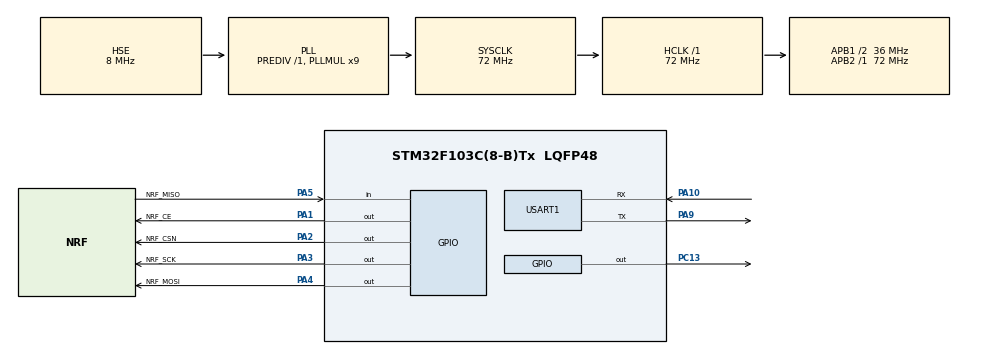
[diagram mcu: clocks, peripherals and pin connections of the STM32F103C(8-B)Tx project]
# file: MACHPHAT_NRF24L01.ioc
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Mcu.Family=STM32F1
Mcu.Name=STM32F103C(8-B)Tx
Mcu.Package=LQFP48
NVIC.PriorityGroup=NVIC_PRIORITYGROUP_4
NVIC.USART1_IRQn=true\:0\:0\:false\:false\:true
PA1.GPIO_Label=NRF_CE
PA1.GPIO_Speed=GPIO_SPEED_FREQ_HIGH
PA1.Signal=GPIO_Output
PA10.Mode=Asynchronous
PA10.Signal=USART1_RX
PA13.Mode=Serial_Wire
PA13.Signal=SYS_JTMS-SWDIO
PA14.Mode=Serial_Wire
PA14.Signal=SYS_JTCK-SWCLK
PA2.GPIO_Label=NRF_CSN
PA2.GPIO_Speed=GPIO_SPEED_FREQ_HIGH
PA2.Signal=GPIO_Output
PA3.GPIO_Label=NRF_SCK
PA3.GPIO_Speed=GPIO_SPEED_FREQ_HIGH
PA3.Signal=GPIO_Output
PA4.GPIO_Label=NRF_MOSI
PA4.GPIO_Speed=GPIO_SPEED_FREQ_HIGH
PA4.Signal=GPIO_Output
PA5.GPIO_Label=NRF_MISO
PA5.Signal=GPIO_Input
PA9.Mode=Asynchronous
PA9.Signal=USART1_TX
PC13-TAMPER-RTC.Signal=GPIO_Output
PD0-OSC_IN.Mode=HSE-External-Oscillator
PD0-OSC_IN.Signal=RCC_OSC_IN
PD1-OSC_OUT.Mode=HSE-External-Oscillator
PD1-OSC_OUT.Signal=RCC_OSC_OUT
ProjectManager.HeapSize=0x200
ProjectManager.StackSize=0x400
ProjectManager.TargetToolchain=MDK-ARM V5
RCC.AHBFreq_Value=72000000
RCC.APB1CLKDivider=RCC_HCLK_DIV2
RCC.APB1Freq_Value=36000000
RCC.APB1TimFreq_Value=72000000
RCC.APB2Freq_Value=72000000
RCC.APB2TimFreq_Value=72000000
RCC.HCLKFreq_Value=72000000
RCC.PLLMUL=RCC_PLL_MUL9
RCC.PLLSourceVirtual=RCC_PLLSOURCE_HSE
RCC.SYSCLKFreq_VALUE=72000000
RCC.SYSCLKSource=RCC_SYSCLKSOURCE_PLLCLK
RCC.USBFreq_Value=72000000
USART1.VirtualMode=VM_ASYNC
board=MACHPHAT_NRF24L01

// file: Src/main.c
/**
  ******************************************************************************
  * File Name          : main.c
  * Description        : Main program body
  ******************************************************************************
  ** This notice applies to any and all portions of this file
  * that are not between comment pairs USER CODE BEGIN and
  * USER CODE END. Other portions of this file, whether
  * inserted by the user or by software development tools
  * are owned by their respective copyright owners.
  *
  * COPYRIGHT(c) 2017 STMicroelectronics
  *
  * Redistribution and use in source and binary forms, with or without modification,
  * are permitted provided that the following conditions are met:
  *   1. Redistributions of source code must retain the above copyright notice,
  *      this list of conditions and the following disclaimer.
  *   2. Redistributions in binary form must reproduce the above copyright notice,
  *      this list of conditions and the following disclaimer in the documentation
  *      and/or other materials provided with the distribution.
  *   3. Neither the name of STMicroelectronics nor the names of its contributors
  *      may be used to endorse or promote products derived from this software
  *      without specific prior written permission.
  *
  * THIS SOFTWARE IS PROVIDED BY THE COPYRIGHT HOLDERS AND CONTRIBUTORS "AS IS"
  * AND ANY EXPRESS OR IMPLIED WARRANTIES, INCLUDING, BUT NOT LIMITED TO, THE
  * IMPLIED WARRANTIES OF MERCHANTABILITY AND FITNESS FOR A PARTICULAR PURPOSE ARE
  * DISCLAIMED. IN NO EVENT SHALL THE COPYRIGHT HOLDER OR CONTRIBUTORS BE LIABLE
  * FOR ANY DIRECT, INDIRECT, INCIDENTAL, SPECIAL, EXEMPLARY, OR CONSEQUENTIAL
  * DAMAGES (INCLUDING, BUT NOT LIMITED TO, PROCUREMENT OF SUBSTITUTE GOODS OR
  * SERVICES; LOSS OF USE, DATA, OR PROFITS; OR BUSINESS INTERRUPTION) HOWEVER
  * CAUSED AND ON ANY THEORY OF LIABILITY, WHETHER IN CONTRACT, STRICT LIABILITY,
  * OR TORT (INCLUDING NEGLIGENCE OR OTHERWISE) ARISING IN ANY WAY OUT OF THE USE
  * OF THIS SOFTWARE, EVEN IF ADVISED OF THE POSSIBILITY OF SUCH DAMAGE.
  *
  ******************************************************************************
  */
#include "main.h"
#include "stm32f1xx_hal.h"

/* USER CODE BEGIN Includes */
//Hung
#include "CTR_nrf24l01.h"

/* USER CODE END Includes */

UART_HandleTypeDef huart1;

/* USER CODE BEGIN PV */
/* Private variables ---------------------------------------------------------*/

/* USER CODE END PV */

void SystemClock_Config(void);
static void MX_GPIO_Init(void);
static void MX_USART1_UART_Init(void);

/* USER CODE BEGIN PFP */
/* Private function prototypes -----------------------------------------------*/
//Hung
#ifdef __GNUC__
  /* With GCC/RAISONANCE, small printf (option LD Linker->Libraries->Small printf
     set to 'Yes') calls __io_putchar() */
  #define PUTCHAR_PROTOTYPE int __io_putchar(int ch)
#else
  #define PUTCHAR_PROTOTYPE int fputc(int ch, FILE *f)
  #define GETCHAR_PROTOTYPE int fgetc(FILE *f)
#endif /* __GNUC__ */
	PUTCHAR_PROTOTYPE
{
  /* Place your implementation of fputc here */
  /* e.g. write a character to the USART */
	HAL_UART_Transmit(&huart1, (uint8_t*)&ch,1,100);

  /* Loop until the end of transmission */

  return ch;
}

/* USER CODE END PFP */

/* USER CODE BEGIN 0 */

//Hung added
	uint8_t CTR_SENDBUFF[32];

//End Hung added

/* USER CODE END 0 */

int main(void)
{

  /* MCU Configuration----------------------------------------------------------*/

  /* Reset of all peripherals, Initializes the Flash interface and the Systick. */
  HAL_Init();

  /* Configure the system clock */
  SystemClock_Config();

  /* Initialize all configured peripherals */
  MX_GPIO_Init();
  MX_USART1_UART_Init();

  /* USER CODE BEGIN 2 */

	//Hung
	CTR_nrfInit(); //khoi tao
	CTR_nrfSetTX(); //chon chuc nang gui du lieu
	// Them doan ma can gui vao buffer gui
	sprintf(CTR_SENDBUFF, "Hello Hung-gui qua NRF24L01");

	printf("Hello day la mach phat dung NRF24L01\r \n");

  /* USER CODE END 2 */

  /* Infinite loop */
  while (1)
  {
		HAL_GPIO_TogglePin(GPIOC, GPIO_PIN_13);

//		if (HAL_GPIO_ReadPin(GPIOC, GPIO_PIN_13) == 1){
			printf("Sending package to receiver \r \n");
			CTR_nrfSendPacket(CTR_SENDBUFF);
			CTR_nrfSetTX();
//		} else{
//			printf("Idling. Not sending any package\r \n");
//		}

		HAL_Delay(1000);

  }

}

/** System Clock Configuration
*/
void SystemClock_Config(void)
{

  RCC_OscInitTypeDef RCC_OscInitStruct;
  RCC_ClkInitTypeDef RCC_ClkInitStruct;

    /**Initializes the CPU, AHB and APB busses clocks
    */
  RCC_OscInitStruct.OscillatorType = RCC_OSCILLATORTYPE_HSE;
  RCC_OscInitStruct.HSEState = RCC_HSE_ON;
  RCC_OscInitStruct.HSEPredivValue = RCC_HSE_PREDIV_DIV1;
  RCC_OscInitStruct.HSIState = RCC_HSI_ON;
  RCC_OscInitStruct.PLL.PLLState = RCC_PLL_ON;
  RCC_OscInitStruct.PLL.PLLSource = RCC_PLLSOURCE_HSE;
  RCC_OscInitStruct.PLL.PLLMUL = RCC_PLL_MUL9;
  if (HAL_RCC_OscConfig(&RCC_OscInitStruct) != HAL_OK)
  {
    _Error_Handler(__FILE__, __LINE__);
  }

    /**Initializes the CPU, AHB and APB busses clocks
    */
  RCC_ClkInitStruct.ClockType = RCC_CLOCKTYPE_HCLK|RCC_CLOCKTYPE_SYSCLK
                              |RCC_CLOCKTYPE_PCLK1|RCC_CLOCKTYPE_PCLK2;
  RCC_ClkInitStruct.SYSCLKSource = RCC_SYSCLKSOURCE_PLLCLK;
  RCC_ClkInitStruct.AHBCLKDivider = RCC_SYSCLK_DIV1;
  RCC_ClkInitStruct.APB1CLKDivider = RCC_HCLK_DIV2;
  RCC_ClkInitStruct.APB2CLKDivider = RCC_HCLK_DIV1;

  if (HAL_RCC_ClockConfig(&RCC_ClkInitStruct, FLASH_LATENCY_2) != HAL_OK)
  {
    _Error_Handler(__FILE__, __LINE__);
  }

    /**Configure the Systick interrupt time
    */
  HAL_SYSTICK_Config(HAL_RCC_GetHCLKFreq()/1000);

    /**Configure the Systick
    */
  HAL_SYSTICK_CLKSourceConfig(SYSTICK_CLKSOURCE_HCLK);

  /* SysTick_IRQn interrupt configuration */
  HAL_NVIC_SetPriority(SysTick_IRQn, 0, 0);
}

/* USART1 init function */
static void MX_USART1_UART_Init(void)
{

  huart1.Instance = USART1;
  huart1.Init.BaudRate = 115200;
  huart1.Init.WordLength = UART_WORDLENGTH_8B;
  huart1.Init.StopBits = UART_STOPBITS_1;
  huart1.Init.Parity = UART_PARITY_NONE;
  huart1.Init.Mode = UART_MODE_TX_RX;
  huart1.Init.HwFlowCtl = UART_HWCONTROL_NONE;
  huart1.Init.OverSampling = UART_OVERSAMPLING_16;
  if (HAL_UART_Init(&huart1) != HAL_OK)
  {
    _Error_Handler(__FILE__, __LINE__);
  }

}

/** Configure pins as
        * Analog
        * Input
        * Output
        * EVENT_OUT
        * EXTI
*/
static void MX_GPIO_Init(void)
{

  GPIO_InitTypeDef GPIO_InitStruct;

  /* GPIO Ports Clock Enable */
  __HAL_RCC_GPIOC_CLK_ENABLE();
  __HAL_RCC_GPIOD_CLK_ENABLE();
  __HAL_RCC_GPIOA_CLK_ENABLE();

  /*Configure GPIO pin Output Level */
  HAL_GPIO_WritePin(GPIOC, GPIO_PIN_13, GPIO_PIN_RESET);

  /*Configure GPIO pin Output Level */
	//hung commented
 // HAL_GPIO_WritePin(GPIOA, NRF_CE_Pin|NRF_CSN_Pin|NRF_SCK_Pin|NRF_MOSI_Pin, GPIO_PIN_RESET);

  /*Configure GPIO pin : PC13 */
  GPIO_InitStruct.Pin = GPIO_PIN_13;
  GPIO_InitStruct.Mode = GPIO_MODE_OUTPUT_PP;
  GPIO_InitStruct.Speed = GPIO_SPEED_FREQ_LOW;
  HAL_GPIO_Init(GPIOC, &GPIO_InitStruct);

//Hung added
	CTR_nrfPinConfig();

	//Hung commented. copy to CTR_nrf24l01.h
  /*Configure GPIO pins : NRF_CE_Pin NRF_CSN_Pin NRF_SCK_Pin NRF_MOSI_Pin */
//  GPIO_InitStruct.Pin = NRF_CE_Pin|NRF_CSN_Pin|NRF_SCK_Pin|NRF_MOSI_Pin;
//  GPIO_InitStruct.Mode = GPIO_MODE_OUTPUT_PP;
//  GPIO_InitStruct.Speed = GPIO_SPEED_FREQ_HIGH;
//  HAL_GPIO_Init(GPIOA, &GPIO_InitStruct);

//  /*Configure GPIO pin : NRF_MISO_Pin */
//  GPIO_InitStruct.Pin = NRF_MISO_Pin;
//  GPIO_InitStruct.Mode = GPIO_MODE_INPUT;
//  GPIO_InitStruct.Pull = GPIO_NOPULL;
//  HAL_GPIO_Init(NRF_MISO_GPIO_Port, &GPIO_InitStruct);

}

void _Error_Handler(char * file, int line)
{
  while(1)
  {
  }
}

/************************ (C) COPYRIGHT STMicroelectronics *****END OF FILE****/
